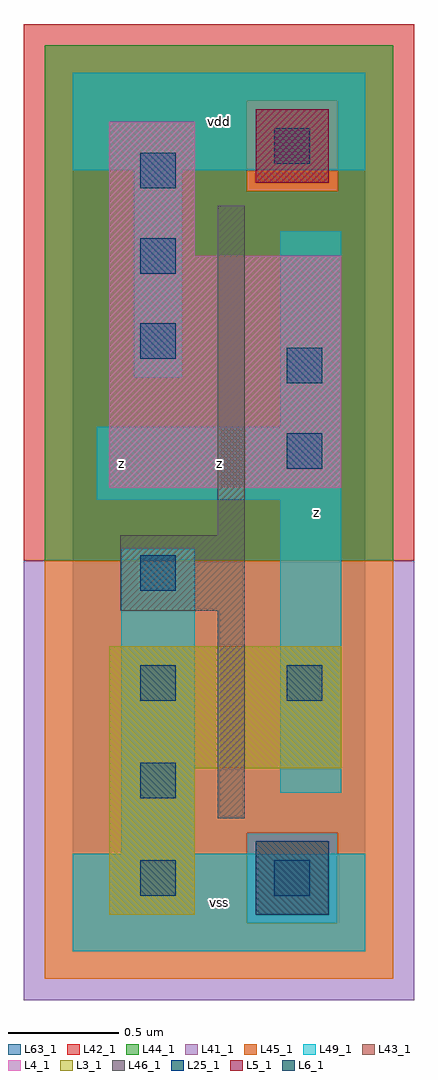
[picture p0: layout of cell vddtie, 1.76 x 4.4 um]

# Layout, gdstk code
import gdstk
lib = gdstk.Library(unit=1e-6, precision=1e-09)
def R(c, l, rs):  # rectangles x0, y0, x1, y1
    for r in rs: c.add(gdstk.rectangle(r[:2], r[2:], *l))
def A(c, l, x, y, w, h, nx, ny, dx, dy):  # array of equal rectangles
    R(c, l, [(x+i*dx, y+j*dy, x+i*dx+w, y+j*dy+h) for i in range(nx) for j in range(ny)])
L3_1 = (3, 1)
L4_1 = (4, 1)
L5_1 = (5, 1)
L6_1 = (6, 1)
L25_1 = (25, 1)
L41_1 = (41, 1)
L42_1 = (42, 1)
L43_1 = (43, 1)
L44_1 = (44, 1)
L45_1 = (45, 1)
L46_1 = (46, 1)
L49_1 = (49, 1)
L63_1 = (63, 1)

vddtie = lib.new_cell('vddtie')
R(vddtie, L3_1, [(0.165,0.165,0.55,0.825), (0.165,0.825,1.21,1.375)])
R(vddtie, L4_1, [(0.165,2.09,1.21,3.135), (0.165,3.135,0.55,3.74)])
R(vddtie, L5_1, [(0.825,3.465,1.155,3.795)])
R(vddtie, L6_1, [(0.825,0.165,1.155,0.495)])
A(vddtie, L25_1, 0.305, 0.25, 0.16, 0.16, 1, 3, 0, 0.44)
A(vddtie, L25_1, 0.305, 2.67, 0.16, 0.16, 1, 3, 0, 0.385)
R(vddtie, L25_1, [(0.91,0.25,1.07,0.41), (0.965,1.13,1.125,1.29), (0.305,1.625,0.465,1.785), (0.965,2.175,1.125,2.335), (0.965,2.56,1.125,2.72), (0.91,3.55,1.07,3.71)])
R(vddtie, L41_1, [(-0.22,-0.22,1.54,1.76)])
R(vddtie, L42_1, [(-0.22,1.76,1.54,4.18)])
R(vddtie, L43_1, [(0.165,0.165,0.55,0.825), (0.825,0.165,1.155,0.495), (0.165,0.825,1.21,1.375), (0.165,2.09,1.21,3.135), (0.165,3.135,0.55,3.74), (0.825,3.465,1.155,3.795)])
R(vddtie, L44_1, [(0.785,0.125,1.195,0.535), (-0.125,1.76,1.445,3.425), (-0.125,3.425,0.785,3.835), (1.195,3.425,1.445,3.835), (-0.125,3.835,1.445,4.085)])
R(vddtie, L45_1, [(-0.125,-0.125,1.445,0.125), (-0.125,0.125,0.785,0.535), (1.195,0.125,1.445,0.535), (-0.125,0.535,1.445,1.76), (0.785,3.425,1.195,3.835)])
R(vddtie, L46_1, [(0.655,0.6,0.775,1.535), (0.215,1.535,0.775,1.875), (0.655,1.875,0.775,3.36)])
R(vddtie, L49_1, [(0,0,1.32,0.44), (0.22,0.44,0.55,1.815), (0.935,0.715,1.21,2.035), (0.11,2.035,1.21,2.365), (0.935,2.365,1.21,3.245), (0.275,2.585,0.495,3.52), (0,3.52,1.32,3.96)])
R(vddtie, L63_1, [(0,0,1.32,3.96)])
vddtie.add(gdstk.Label('z', (0.22,2.2), layer=49, texttype=1))
vddtie.add(gdstk.Label('vss', (0.66,0.22), layer=49, texttype=1))
vddtie.add(gdstk.Label('z', (0.66,2.2), layer=49, texttype=1))
vddtie.add(gdstk.Label('vdd', (0.66,3.74), layer=49, texttype=1))
vddtie.add(gdstk.Label('z', (1.1,1.98), layer=49, texttype=1))

lib.write_gds('vddtie.gds')
